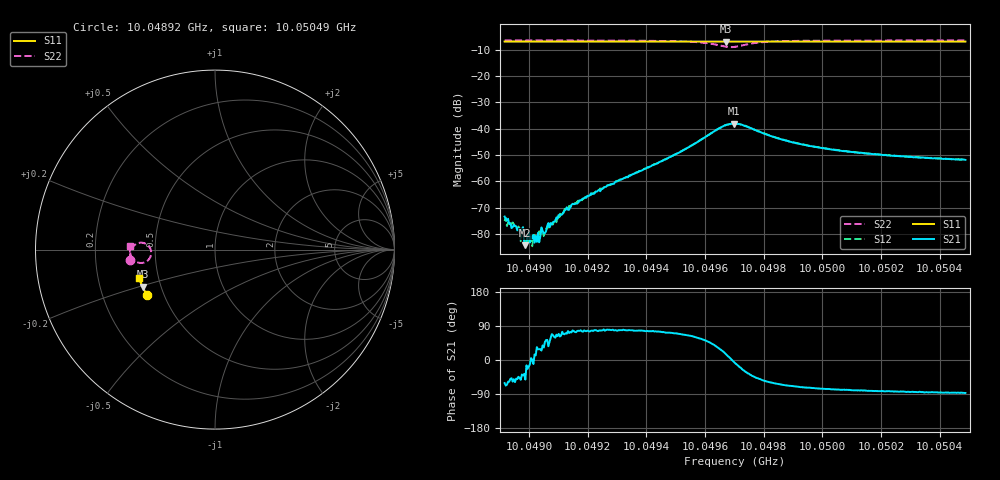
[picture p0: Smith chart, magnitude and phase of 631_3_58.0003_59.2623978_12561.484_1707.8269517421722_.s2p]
#  HZ  S  RI  R  50.00
! Rohde & Schwarz Vector Network Analyzer
! Rohde-Schwarz,ZNB20-2Port,1311601062101988,3.16
! Created: UTC 3/21/2024, 1:18:39 AM
! freq[Hz]  re:S11  im:S11  re:S21  im:S21  re:S12  im:S12  re:S22  im:S22
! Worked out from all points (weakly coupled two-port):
!   401 points, 10.04892 GHz to 10.05049 GHz, reference 50 ohm
!   highest |S21| = -38.03 dB at 10.0497 GHz (marker M1); lowest = -84.4 dB at 10.04899 GHz (marker M2)
!   lowest |S11| = -6.9 dB at 10.04967 GHz (marker M3), VSWR 2.65, Z = 19.8 - j10.3 ohm
!   |S11| at or under -10 dB: nowhere
!   |S22| runs from -9.0 to -6.4 dB; largest |S21 - S12| = 0.00095
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1.0048917e10  -0.3802 -0.2503  0.000104 -0.000187  9e-05 -0.000151  -0.4728 -0.0558
1.0048941e10  -0.381 -0.2489  8.65e-05 -9.58e-05  9.07e-05 -0.000125  -0.4727 -0.0538
1.0048988e10  -0.3827 -0.2462  3.74e-05 -4.73e-05  7.78e-05 -3.64e-05  -0.4729 -0.05
1.0049023e10  -0.3838 -0.2444  8.9e-05 1.94e-05  8.28e-05 1.54e-05  -0.4732 -0.0472
1.0049055e10  -0.3849 -0.2424  6.99e-05 7.65e-05  7.75e-05 8.74e-05  -0.4731 -0.0445
1.004907e10  -0.3855 -0.2415  8.94e-05 9.91e-05  7.08e-05 0.000124  -0.4731 -0.043
1.0049078e10  -0.3857 -0.2411  5.53e-05 0.000139  7.74e-05 0.00014  -0.4731 -0.0422
1.0049118e10  -0.3869 -0.2388  9.18e-05 0.000236  6.46e-05 0.000241  -0.4732 -0.0388
1.0049149e10  -0.3879 -0.2371  7.85e-05 0.000365  7.02e-05 0.000338  -0.4732 -0.0359
1.004918e10  -0.389 -0.2353  0.00011 0.000439  7.77e-05 0.000428  -0.4731 -0.0329
1.0049251e10  -0.3914 -0.2312  0.000146 0.000702  5.38e-05 0.000734  -0.4726 -0.0257
1.0049443e10  -0.3971 -0.2199  0.000596 0.00222  0.000464 0.00223  -0.4661 0.000622
1.0049581e10  -0.4011 -0.2116  0.0032 0.00494  0.0029 0.00514  -0.4377 0.0324
1.0049671e10  -0.4027 -0.2062  0.0113 0.00314  0.011 0.00398  -0.3627 0.0101
1.0049698e10  -0.4034 -0.2051  0.0125 -0.00101  0.0125 -0.000152  -0.3566 -0.0304
1.0049702e10  -0.4034 -0.2048  0.0123 -0.00176  0.0124 -0.000836  -0.3583 -0.0361
1.0049738e10  -0.4047 -0.2032  0.00958 -0.00579  0.0102 -0.00522  -0.3898 -0.0701
1.00498e10  -0.4069 -0.1998  0.00473 -0.00659  0.00523 -0.00632  -0.4388 -0.0677
1.0049879e10  -0.4094 -0.1949  0.00228 -0.00543  0.00264 -0.00531  -0.4613 -0.0478
1.0049965e10  -0.4117 -0.1897  0.00128 -0.00444  0.00157 -0.00438  -0.4694 -0.0311
1.0050228e10  -0.4183 -0.1737  0.000417 -0.00308  0.00059 -0.00308  -0.475 0.000643
1.0050487e10  -0.4242 -0.1576  0.000136 -0.00255  0.000296 -0.00257  -0.4751 0.0228
